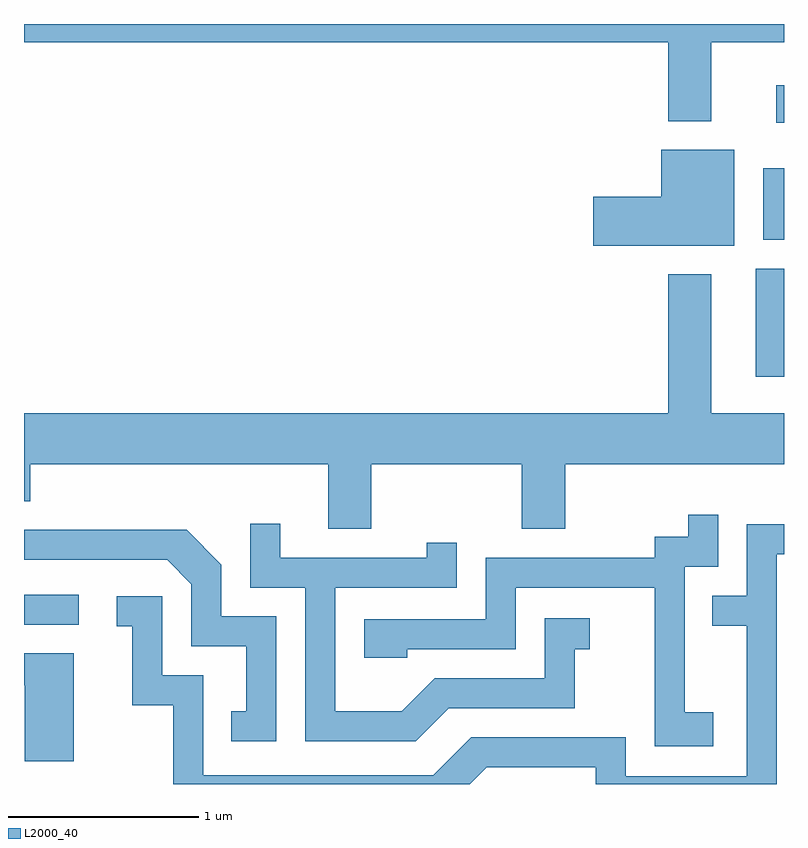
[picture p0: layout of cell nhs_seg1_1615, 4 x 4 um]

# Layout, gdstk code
import gdstk
lib = gdstk.Library(unit=1e-6, precision=1e-09)
def R(c, l, rs):  # rectangles x0, y0, x1, y1
    for r in rs: c.add(gdstk.rectangle(r[:2], r[2:], *l))
def P(c, l, *ps):  # polygons
    for p in ps: c.add(gdstk.Polygon(p, *l))
L2000_40 = (2000, 40)

nhs_seg1_1615 = lib.new_cell('nhs_seg1_1615')
R(nhs_seg1_1615, L2000_40, [(235.611,856.551,235.898,856.709), (239.461,857.856,239.611,858.424), (239.501,858.576,239.611,858.954), (239.571,859.191,239.611,859.389)])
P(nhs_seg1_1615, L2000_40, [(235.611,859.616),(239.001,859.616),(239.001,859.201),(239.229,859.201),(239.229,859.616),(239.611,859.616),(239.611,859.712),(235.611,859.712)],
  [(239.349,859.049),(238.966,859.049),(238.966,858.804),(238.606,858.804),(238.606,858.546),(239.349,858.546)],
  [(237.439,857.396),(238.231,857.396),(238.231,857.056),(238.459,857.056),(238.459,857.396),(239.611,857.396),(239.611,857.664),(239.229,857.664),(239.229,858.394),(239.001,858.394),(239.001,857.664),(235.611,857.664),(235.611,857.201),(235.644,857.201),(235.644,857.396),(237.211,857.396),(237.211,857.056),(237.439,857.056)],
  [(239.239,856.089),(239.089,856.089),(239.089,856.856),(239.264,856.856),(239.264,857.128),(239.106,857.128),(239.106,857.014),(238.931,857.014),(238.931,856.904),(238.041,856.904),(238.041,856.579),(237.401,856.579),(237.401,856.376),(237.629,856.376),(237.629,856.421),(238.199,856.421),(238.199,856.746),(238.931,856.746),(238.931,855.911),(239.239,855.911)],
  [(237.847,856.111),(238.509,856.111),(238.509,856.421),(238.588,856.421),(238.588,856.584),(238.351,856.584),(238.351,856.269),(237.774,856.269),(237.599,856.094),(237.249,856.094),(237.249,856.746),(237.889,856.746),(237.889,856.983),(237.731,856.983),(237.731,856.904),(236.959,856.904),(236.959,857.083),(236.801,857.083),(236.801,856.746),(237.091,856.746),(237.091,855.936),(237.672,855.936)],
  [(238.047,855.801),(238.621,855.801),(238.621,855.712),(239.574,855.712),(239.574,856.921),(239.611,856.921),(239.611,857.079),(239.416,857.079),(239.416,856.704),(239.233,856.704),(239.233,856.546),(239.416,856.546),(239.416,855.754),(238.779,855.754),(238.779,855.959),(237.964,855.959),(237.764,855.759),(236.554,855.759),(236.554,856.284),(236.339,856.284),(236.339,856.699),(236.098,856.699),(236.098,856.541),(236.181,856.541),(236.181,856.126),(236.396,856.126),(236.396,855.712),(237.958,855.712)],
  [(236.939,856.594),(236.649,856.594),(236.649,856.867),(236.467,857.049),(235.611,857.049),(235.611,856.891),(236.364,856.891),(236.491,856.764),(236.491,856.436),(236.781,856.436),(236.781,856.094),(236.703,856.094),(236.703,855.936),(236.939,855.936)],
  [(235.874,856.399),(235.611,856.399),(235.611,856.231),(235.616,856.231),(235.616,855.831),(235.874,855.831)])

lib.write_gds('nhs_seg1_1615.gds')
